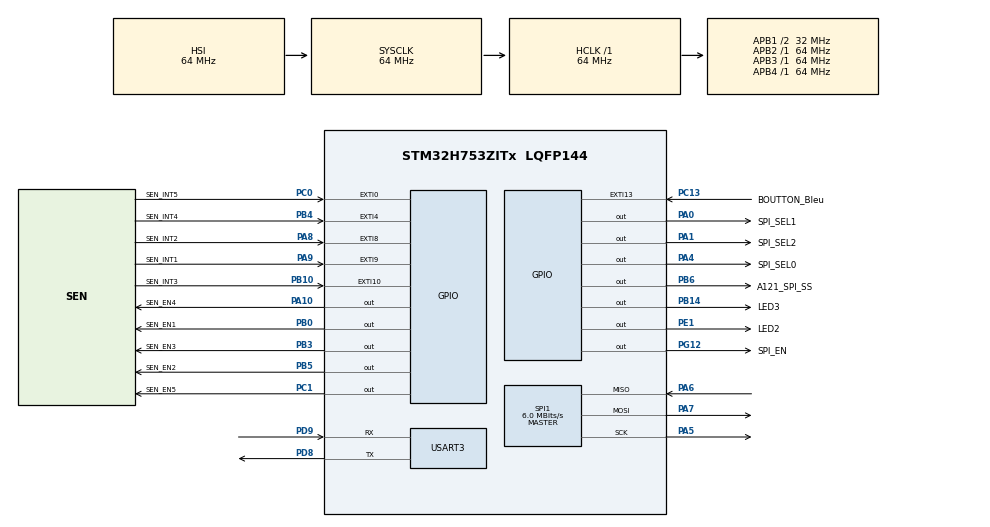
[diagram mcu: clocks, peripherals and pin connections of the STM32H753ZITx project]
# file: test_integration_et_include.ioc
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CORTEX_M7.default_mode_Activation=1
FREERTOS.BinarySemaphores01=Sem_de_synchro,Static,myBinarySem01ControlBlock,Depleted
FREERTOS.HEAP_NUMBER=1
FREERTOS.Queues01=myQueue01,1,uint32_t,0,Static,myQueue01Buffer,myQueue01ControlBlock
FREERTOS.Tasks01=tache1,33,128,Start_tache_1,Default,NULL,Static,defaultTaskBuffer,defaultTaskControlBlock;tache2,18,128,Start_tache_2,Default,NULL,Static,tache2Buffer,tache2ControlBlock;myTask03,8,128,StartTask03,Default,NULL,Static,myTask03Buffer,myTask03ControlBlock
FREERTOS.configCHECK_FOR_STACK_OVERFLOW=2
FREERTOS.configUSE_IDLE_HOOK=1
FREERTOS.configUSE_NEWLIB_REENTRANT=1
Mcu.Family=STM32H7
Mcu.Name=STM32H753ZITx
Mcu.Package=LQFP144
NVIC.EXTI0_IRQn=true\:5\:0\:false\:false\:true\:true\:true\:true\:true
NVIC.EXTI15_10_IRQn=true\:5\:0\:false\:false\:true\:true\:true\:true\:true
NVIC.EXTI4_IRQn=true\:5\:0\:false\:false\:true\:true\:true\:true\:true
NVIC.EXTI9_5_IRQn=true\:5\:0\:false\:false\:true\:true\:true\:true\:true
NVIC.PriorityGroup=NVIC_PRIORITYGROUP_4
NVIC.TIM8_BRK_TIM12_IRQn=true\:15\:0\:false\:false\:true\:false\:false\:true\:true
NVIC.TimeBase=TIM8_BRK_TIM12_IRQn
NVIC.TimeBaseIP=TIM12
PA0.GPIO_Label=SPI_SEL1
PA0.GPIO_Speed=GPIO_SPEED_FREQ_VERY_HIGH
PA0.Signal=GPIO_Output
PA1.GPIO_Label=SPI_SEL2
PA1.GPIO_Speed=GPIO_SPEED_FREQ_VERY_HIGH
PA1.Signal=GPIO_Output
PA10.GPIO_Label=SEN_EN4
PA10.GPIO_Speed=GPIO_SPEED_FREQ_VERY_HIGH
PA10.Signal=GPIO_Output
PA4.GPIO_Label=SPI_SEL0
PA4.GPIO_Speed=GPIO_SPEED_FREQ_VERY_HIGH
PA4.Signal=GPIO_Output
PA5.Mode=Full_Duplex_Master
PA5.Signal=SPI1_SCK
PA6.Mode=Full_Duplex_Master
PA6.Signal=SPI1_MISO
PA7.Mode=Full_Duplex_Master
PA7.Signal=SPI1_MOSI
PA8.GPIO_Label=SEN_INT2
PA8.Signal=GPXTI8
PA9.GPIO_Label=SEN_INT1
PA9.Signal=GPXTI9
PB0.GPIO_Label=SEN_EN1
PB0.GPIO_Speed=GPIO_SPEED_FREQ_VERY_HIGH
PB0.Signal=GPIO_Output
PB10.GPIO_Label=SEN_INT3
PB10.Signal=GPXTI10
PB14.GPIO_Label=LED3
PB14.Signal=GPIO_Output
PB3\ (JTDO/TRACESWO).GPIO_Label=SEN_EN3
PB3\ (JTDO/TRACESWO).GPIO_Speed=GPIO_SPEED_FREQ_VERY_HIGH
PB3\ (JTDO/TRACESWO).Signal=GPIO_Output
PB4\ (NJTRST).GPIO_Label=SEN_INT4
PB4\ (NJTRST).Signal=GPXTI4
PB5.GPIO_Label=SEN_EN2
PB5.GPIO_Speed=GPIO_SPEED_FREQ_VERY_HIGH
PB5.Signal=GPIO_Output
PB6.GPIO_Label=A121_SPI_SS
PB6.GPIO_Speed=GPIO_SPEED_FREQ_VERY_HIGH
PB6.PinState=GPIO_PIN_SET
PB6.Signal=GPIO_Output
PC0.GPIO_Label=SEN_INT5
PC0.Signal=GPXTI0
PC1.GPIO_Label=SEN_EN5
PC1.GPIO_Speed=GPIO_SPEED_FREQ_VERY_HIGH
PC1.Signal=GPIO_Output
PC13.GPIO_Label=BOUTTON_Bleu
PC13.Signal=GPXTI13
PD8.Mode=Asynchronous
PD8.Signal=USART3_TX
PD9.Mode=Asynchronous
PD9.Signal=USART3_RX
PE1.GPIO_Label=LED2
PE1.Signal=GPIO_Output
PG12.GPIO_Label=SPI_EN
PG12.GPIO_Speed=GPIO_SPEED_FREQ_VERY_HIGH
PG12.Signal=GPIO_Output
ProjectManager.HeapSize=0x200
ProjectManager.StackSize=0x400
ProjectManager.TargetToolchain=STM32CubeIDE
RCC.ADCFreq_Value=129000000
RCC.APB1Freq_Value=32000000
RCC.APB2Freq_Value=64000000
RCC.APB3Freq_Value=64000000
RCC.APB4Freq_Value=64000000
RCC.CortexFreq_Value=64000000
RCC.D2PPRE1=RCC_APB1_DIV2
RCC.DIVM1=4
RCC.DIVN1=12
RCC.DIVQ1=4
RCC.HCLKFreq_Value=64000000
RCC.PLL1_VCI_Range=RCC_PLL1VCIRANGE_3
RCC.PLL2FRACN=0
RCC.PLL3FRACN=0
RCC.PLLFRACN=0
RCC.SYSCLKFreq_VALUE=64000000
RCC.USBFreq_Value=48000000
SPI1.BaudRatePrescaler=SPI_BAUDRATEPRESCALER_8
SPI1.CalculateBaudRate=6.0 MBits/s
SPI1.DataSize=SPI_DATASIZE_8BIT
SPI1.Direction=SPI_DIRECTION_2LINES
SPI1.Mode=SPI_MODE_MASTER
SPI1.VirtualType=VM_MASTER
USART3.VirtualMode-Asynchronous=VM_ASYNC
VP_FREERTOS_VS_CMSIS_V2.Mode=CMSIS_V2
VP_MEMORYMAP_VS_MEMORYMAP.Mode=CurAppReg
VP_SYS_VS_tim12.Mode=TIM12
board=custom

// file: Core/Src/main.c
/* USER CODE BEGIN Header */
/**
  ******************************************************************************
  * @file           : main.c
  * @brief          : Main program body
  ******************************************************************************
  * @attention
  *
  * Copyright (c) 2024 STMicroelectronics.
  * All rights reserved.
  *
  * This software is licensed under terms that can be found in the LICENSE file
  * in the root directory of this software component.
  * If no LICENSE file comes with this software, it is provided AS-IS.
  *
  ******************************************************************************
  */
/* USER CODE END Header */
#include "main.h"
#include "cmsis_os.h"

/* USER CODE BEGIN Includes */
#include <stdbool.h>
#include <stdio.h>
#include <string.h>

//Lib perso :
#include "variables.h"

//Lib pour ma tache de diagno :
#include "acc_hal_integration_a121.h"

// Lib pour calcule de distance :
#include "example_detector_distance.h"

/* USER CODE END Includes */

typedef StaticTask_t osStaticThreadDef_t;
typedef StaticQueue_t osStaticMessageQDef_t;
typedef StaticSemaphore_t osStaticSemaphoreDef_t;

SPI_HandleTypeDef hspi1;

UART_HandleTypeDef huart3;

/* Definitions for tache1 */
osThreadId_t tache1Handle;
uint32_t defaultTaskBuffer[ 128 ];
osStaticThreadDef_t defaultTaskControlBlock;
const osThreadAttr_t tache1_attributes = {
  .name = "tache1",
  .cb_mem = &defaultTaskControlBlock,
  .cb_size = sizeof(defaultTaskControlBlock),
  .stack_mem = &defaultTaskBuffer[0],
  .stack_size = sizeof(defaultTaskBuffer),
  .priority = (osPriority_t) osPriorityAboveNormal1,
};
/* Definitions for tache2 */
osThreadId_t tache2Handle;
uint32_t tache2Buffer[ 128 ];
osStaticThreadDef_t tache2ControlBlock;
const osThreadAttr_t tache2_attributes = {
  .name = "tache2",
  .cb_mem = &tache2ControlBlock,
  .cb_size = sizeof(tache2ControlBlock),
  .stack_mem = &tache2Buffer[0],
  .stack_size = sizeof(tache2Buffer),
  .priority = (osPriority_t) osPriorityBelowNormal2,
};
/* Definitions for myTask03 */
osThreadId_t myTask03Handle;
uint32_t myTask03Buffer[ 128 ];
osStaticThreadDef_t myTask03ControlBlock;
const osThreadAttr_t myTask03_attributes = {
  .name = "myTask03",
  .cb_mem = &myTask03ControlBlock,
  .cb_size = sizeof(myTask03ControlBlock),
  .stack_mem = &myTask03Buffer[0],
  .stack_size = sizeof(myTask03Buffer),
  .priority = (osPriority_t) osPriorityLow,
};
/* Definitions for myQueue01 */
osMessageQueueId_t myQueue01Handle;
uint8_t myQueue01Buffer[ 1 * sizeof( uint32_t ) ];
osStaticMessageQDef_t myQueue01ControlBlock;
const osMessageQueueAttr_t myQueue01_attributes = {
  .name = "myQueue01",
  .cb_mem = &myQueue01ControlBlock,
  .cb_size = sizeof(myQueue01ControlBlock),
  .mq_mem = &myQueue01Buffer,
  .mq_size = sizeof(myQueue01Buffer)
};
/* Definitions for Sem_de_synchro */
osSemaphoreId_t Sem_de_synchroHandle;
osStaticSemaphoreDef_t myBinarySem01ControlBlock;
const osSemaphoreAttr_t Sem_de_synchro_attributes = {
  .name = "Sem_de_synchro",
  .cb_mem = &myBinarySem01ControlBlock,
  .cb_size = sizeof(myBinarySem01ControlBlock),
};

void SystemClock_Config(void);
static void MPU_Config(void);
static void MX_GPIO_Init(void);
static void MX_SPI1_Init(void);
static void MX_USART3_UART_Init(void);
void Start_tache_1(void *argument);
void Start_tache_2(void *argument);
void StartTask03(void *argument);

/* USER CODE BEGIN PFP */
uint32_t growStack ( void );
/* USER CODE END PFP */

int main(void)
{

  /* MPU Configuration--------------------------------------------------------*/
  MPU_Config();

  /* MCU Configuration--------------------------------------------------------*/

  /* Reset of all peripherals, Initializes the Flash interface and the Systick. */
  HAL_Init();

  /* Configure the system clock */
  SystemClock_Config();

  /* Initialize all configured peripherals */
  MX_GPIO_Init();
  MX_SPI1_Init();
  MX_USART3_UART_Init();
  /* USER CODE BEGIN 2 */

  // un diagno avant de commencer :
//  acc_example_diagnostic_test(0,NULL);
  /* USER CODE END 2 */

  /* Init scheduler */
  osKernelInitialize();

  /* Create the semaphores(s) */
  /* creation of Sem_de_synchro */
  Sem_de_synchroHandle = osSemaphoreNew(1, 0, &Sem_de_synchro_attributes);

  /* Create the queue(s) */
  /* creation of myQueue01 */
  myQueue01Handle = osMessageQueueNew (1, sizeof(uint32_t), &myQueue01_attributes);

  /* Create the thread(s) */
  /* creation of tache1 */
  tache1Handle = osThreadNew(Start_tache_1, NULL, &tache1_attributes);

  /* creation of tache2 */
  tache2Handle = osThreadNew(Start_tache_2, NULL, &tache2_attributes);

  /* creation of myTask03 */
  myTask03Handle = osThreadNew(StartTask03, NULL, &myTask03_attributes);

  /* Start scheduler */
  osKernelStart();

  /* We should never get here as control is now taken by the scheduler */

  /* Infinite loop */
  while (1)
  {

  }
}

void SystemClock_Config(void)
{
  RCC_OscInitTypeDef RCC_OscInitStruct = {0};
  RCC_ClkInitTypeDef RCC_ClkInitStruct = {0};

  /** Supply configuration update enable
  */
  HAL_PWREx_ConfigSupply(PWR_LDO_SUPPLY);

  /** Configure the main internal regulator output voltage
  */
  __HAL_PWR_VOLTAGESCALING_CONFIG(PWR_REGULATOR_VOLTAGE_SCALE3);

  while(!__HAL_PWR_GET_FLAG(PWR_FLAG_VOSRDY)) {}

  /** Initializes the RCC Oscillators according to the specified parameters
  * in the RCC_OscInitTypeDef structure.
  */
  RCC_OscInitStruct.OscillatorType = RCC_OSCILLATORTYPE_HSI;
  RCC_OscInitStruct.HSIState = RCC_HSI_DIV1;
  RCC_OscInitStruct.HSICalibrationValue = RCC_HSICALIBRATION_DEFAULT;
  RCC_OscInitStruct.PLL.PLLState = RCC_PLL_ON;
  RCC_OscInitStruct.PLL.PLLSource = RCC_PLLSOURCE_HSI;
  RCC_OscInitStruct.PLL.PLLM = 4;
  RCC_OscInitStruct.PLL.PLLN = 12;
  RCC_OscInitStruct.PLL.PLLP = 2;
  RCC_OscInitStruct.PLL.PLLQ = 4;
  RCC_OscInitStruct.PLL.PLLR = 2;
  RCC_OscInitStruct.PLL.PLLRGE = RCC_PLL1VCIRANGE_3;
  RCC_OscInitStruct.PLL.PLLVCOSEL = RCC_PLL1VCOWIDE;
  RCC_OscInitStruct.PLL.PLLFRACN = 0;
  if (HAL_RCC_OscConfig(&RCC_OscInitStruct) != HAL_OK)
  {
    Error_Handler();
  }

  /** Initializes the CPU, AHB and APB buses clocks
  */
  RCC_ClkInitStruct.ClockType = RCC_CLOCKTYPE_HCLK|RCC_CLOCKTYPE_SYSCLK
                              |RCC_CLOCKTYPE_PCLK1|RCC_CLOCKTYPE_PCLK2
                              |RCC_CLOCKTYPE_D3PCLK1|RCC_CLOCKTYPE_D1PCLK1;
  RCC_ClkInitStruct.SYSCLKSource = RCC_SYSCLKSOURCE_HSI;
  RCC_ClkInitStruct.SYSCLKDivider = RCC_SYSCLK_DIV1;
  RCC_ClkInitStruct.AHBCLKDivider = RCC_HCLK_DIV1;
  RCC_ClkInitStruct.APB3CLKDivider = RCC_APB3_DIV1;
  RCC_ClkInitStruct.APB1CLKDivider = RCC_APB1_DIV2;
  RCC_ClkInitStruct.APB2CLKDivider = RCC_APB2_DIV1;
  RCC_ClkInitStruct.APB4CLKDivider = RCC_APB4_DIV1;

  if (HAL_RCC_ClockConfig(&RCC_ClkInitStruct, FLASH_LATENCY_1) != HAL_OK)
  {
    Error_Handler();
  }
}

static void MX_SPI1_Init(void)
{

  /* SPI1 parameter configuration*/
  hspi1.Instance = SPI1;
  hspi1.Init.Mode = SPI_MODE_MASTER;
  hspi1.Init.Direction = SPI_DIRECTION_2LINES;
  hspi1.Init.DataSize = SPI_DATASIZE_8BIT;
  hspi1.Init.CLKPolarity = SPI_POLARITY_LOW;
  hspi1.Init.CLKPhase = SPI_PHASE_1EDGE;
  hspi1.Init.NSS = SPI_NSS_SOFT;
  hspi1.Init.BaudRatePrescaler = SPI_BAUDRATEPRESCALER_8;
  hspi1.Init.FirstBit = SPI_FIRSTBIT_MSB;
  hspi1.Init.TIMode = SPI_TIMODE_DISABLE;
  hspi1.Init.CRCCalculation = SPI_CRCCALCULATION_DISABLE;
  hspi1.Init.CRCPolynomial = 0x0;
  hspi1.Init.NSSPMode = SPI_NSS_PULSE_ENABLE;
  hspi1.Init.NSSPolarity = SPI_NSS_POLARITY_LOW;
  hspi1.Init.FifoThreshold = SPI_FIFO_THRESHOLD_01DATA;
  hspi1.Init.TxCRCInitializationPattern = SPI_CRC_INITIALIZATION_ALL_ZERO_PATTERN;
  hspi1.Init.RxCRCInitializationPattern = SPI_CRC_INITIALIZATION_ALL_ZERO_PATTERN;
  hspi1.Init.MasterSSIdleness = SPI_MASTER_SS_IDLENESS_00CYCLE;
  hspi1.Init.MasterInterDataIdleness = SPI_MASTER_INTERDATA_IDLENESS_00CYCLE;
  hspi1.Init.MasterReceiverAutoSusp = SPI_MASTER_RX_AUTOSUSP_DISABLE;
  hspi1.Init.MasterKeepIOState = SPI_MASTER_KEEP_IO_STATE_DISABLE;
  hspi1.Init.IOSwap = SPI_IO_SWAP_DISABLE;
  if (HAL_SPI_Init(&hspi1) != HAL_OK)
  {
    Error_Handler();
  }

}

static void MX_USART3_UART_Init(void)
{

  huart3.Instance = USART3;
  huart3.Init.BaudRate = 115200;
  huart3.Init.WordLength = UART_WORDLENGTH_8B;
  huart3.Init.StopBits = UART_STOPBITS_1;
  huart3.Init.Parity = UART_PARITY_NONE;
  huart3.Init.Mode = UART_MODE_TX_RX;
  huart3.Init.HwFlowCtl = UART_HWCONTROL_NONE;
  huart3.Init.OverSampling = UART_OVERSAMPLING_16;
  huart3.Init.OneBitSampling = UART_ONE_BIT_SAMPLE_DISABLE;
  huart3.Init.ClockPrescaler = UART_PRESCALER_DIV1;
  huart3.AdvancedInit.AdvFeatureInit = UART_ADVFEATURE_NO_INIT;
  if (HAL_UART_Init(&huart3) != HAL_OK)
  {
    Error_Handler();
  }
  if (HAL_UARTEx_SetTxFifoThreshold(&huart3, UART_TXFIFO_THRESHOLD_1_8) != HAL_OK)
  {
    Error_Handler();
  }
  if (HAL_UARTEx_SetRxFifoThreshold(&huart3, UART_RXFIFO_THRESHOLD_1_8) != HAL_OK)
  {
    Error_Handler();
  }
  if (HAL_UARTEx_DisableFifoMode(&huart3) != HAL_OK)
  {
    Error_Handler();
  }

}

static void MX_GPIO_Init(void)
{
  GPIO_InitTypeDef GPIO_InitStruct = {0};

  /* GPIO Ports Clock Enable */
  __HAL_RCC_GPIOC_CLK_ENABLE();
  __HAL_RCC_GPIOA_CLK_ENABLE();
  __HAL_RCC_GPIOB_CLK_ENABLE();
  __HAL_RCC_GPIOD_CLK_ENABLE();
  __HAL_RCC_GPIOG_CLK_ENABLE();
  __HAL_RCC_GPIOE_CLK_ENABLE();

  /*Configure GPIO pin Output Level */
  HAL_GPIO_WritePin(SEN_EN5_GPIO_Port, SEN_EN5_Pin, GPIO_PIN_RESET);

  /*Configure GPIO pin Output Level */
  HAL_GPIO_WritePin(GPIOA, SPI_SEL1_Pin|SPI_SEL2_Pin|SPI_SEL0_Pin|SEN_EN4_Pin, GPIO_PIN_RESET);

  /*Configure GPIO pin Output Level */
  HAL_GPIO_WritePin(GPIOB, SEN_EN1_Pin|LED3_Pin|SEN_EN3_Pin|SEN_EN2_Pin, GPIO_PIN_RESET);

  /*Configure GPIO pin Output Level */
  HAL_GPIO_WritePin(SPI_EN_GPIO_Port, SPI_EN_Pin, GPIO_PIN_RESET);

  /*Configure GPIO pin Output Level */
  HAL_GPIO_WritePin(A121_SPI_SS_GPIO_Port, A121_SPI_SS_Pin, GPIO_PIN_SET);

  /*Configure GPIO pin Output Level */
  HAL_GPIO_WritePin(LED2_GPIO_Port, LED2_Pin, GPIO_PIN_RESET);

  /*Configure GPIO pins : BOUTTON_Bleu_Pin SEN_INT5_Pin */
  GPIO_InitStruct.Pin = BOUTTON_Bleu_Pin|SEN_INT5_Pin;
  GPIO_InitStruct.Mode = GPIO_MODE_IT_RISING;
  GPIO_InitStruct.Pull = GPIO_NOPULL;
  HAL_GPIO_Init(GPIOC, &GPIO_InitStruct);

  /*Configure GPIO pin : SEN_EN5_Pin */
  GPIO_InitStruct.Pin = SEN_EN5_Pin;
  GPIO_InitStruct.Mode = GPIO_MODE_OUTPUT_PP;
  GPIO_InitStruct.Pull = GPIO_NOPULL;
  GPIO_InitStruct.Speed = GPIO_SPEED_FREQ_VERY_HIGH;
  HAL_GPIO_Init(SEN_EN5_GPIO_Port, &GPIO_InitStruct);

  /*Configure GPIO pins : SPI_SEL1_Pin SPI_SEL2_Pin SPI_SEL0_Pin SEN_EN4_Pin */
  GPIO_InitStruct.Pin = SPI_SEL1_Pin|SPI_SEL2_Pin|SPI_SEL0_Pin|SEN_EN4_Pin;
  GPIO_InitStruct.Mode = GPIO_MODE_OUTPUT_PP;
  GPIO_InitStruct.Pull = GPIO_NOPULL;
  GPIO_InitStruct.Speed = GPIO_SPEED_FREQ_VERY_HIGH;
  HAL_GPIO_Init(GPIOA, &GPIO_InitStruct);

  /*Configure GPIO pins : SEN_EN1_Pin SEN_EN3_Pin SEN_EN2_Pin A121_SPI_SS_Pin */
  GPIO_InitStruct.Pin = SEN_EN1_Pin|SEN_EN3_Pin|SEN_EN2_Pin|A121_SPI_SS_Pin;
  GPIO_InitStruct.Mode = GPIO_MODE_OUTPUT_PP;
  GPIO_InitStruct.Pull = GPIO_NOPULL;
  GPIO_InitStruct.Speed = GPIO_SPEED_FREQ_VERY_HIGH;
  HAL_GPIO_Init(GPIOB, &GPIO_InitStruct);

  /*Configure GPIO pins : SEN_INT3_Pin SEN_INT4_Pin */
  GPIO_InitStruct.Pin = SEN_INT3_Pin|SEN_INT4_Pin;
  GPIO_InitStruct.Mode = GPIO_MODE_IT_RISING;
  GPIO_InitStruct.Pull = GPIO_NOPULL;
  HAL_GPIO_Init(GPIOB, &GPIO_InitStruct);

  /*Configure GPIO pin : LED3_Pin */
  GPIO_InitStruct.Pin = LED3_Pin;
  GPIO_InitStruct.Mode = GPIO_MODE_OUTPUT_PP;
  GPIO_InitStruct.Pull = GPIO_NOPULL;
  GPIO_InitStruct.Speed = GPIO_SPEED_FREQ_LOW;
  HAL_GPIO_Init(LED3_GPIO_Port, &GPIO_InitStruct);

  /*Configure GPIO pins : SEN_INT2_Pin SEN_INT1_Pin */
  GPIO_InitStruct.Pin = SEN_INT2_Pin|SEN_INT1_Pin;
  GPIO_InitStruct.Mode = GPIO_MODE_IT_RISING;
  GPIO_InitStruct.Pull = GPIO_NOPULL;
  HAL_GPIO_Init(GPIOA, &GPIO_InitStruct);

  /*Configure GPIO pin : SPI_EN_Pin */
  GPIO_InitStruct.Pin = SPI_EN_Pin;
  GPIO_InitStruct.Mode = GPIO_MODE_OUTPUT_PP;
  GPIO_InitStruct.Pull = GPIO_NOPULL;
  GPIO_InitStruct.Speed = GPIO_SPEED_FREQ_VERY_HIGH;
  HAL_GPIO_Init(SPI_EN_GPIO_Port, &GPIO_InitStruct);

  /*Configure GPIO pin : LED2_Pin */
  GPIO_InitStruct.Pin = LED2_Pin;
  GPIO_InitStruct.Mode = GPIO_MODE_OUTPUT_PP;
  GPIO_InitStruct.Pull = GPIO_NOPULL;
  GPIO_InitStruct.Speed = GPIO_SPEED_FREQ_LOW;
  HAL_GPIO_Init(LED2_GPIO_Port, &GPIO_InitStruct);

  /* EXTI interrupt init*/
  HAL_NVIC_SetPriority(EXTI0_IRQn, 5, 0);
  HAL_NVIC_EnableIRQ(EXTI0_IRQn);

  HAL_NVIC_SetPriority(EXTI4_IRQn, 5, 0);
  HAL_NVIC_EnableIRQ(EXTI4_IRQn);

  HAL_NVIC_SetPriority(EXTI9_5_IRQn, 5, 0);
  HAL_NVIC_EnableIRQ(EXTI9_5_IRQn);

  HAL_NVIC_SetPriority(EXTI15_10_IRQn, 5, 0);
  HAL_NVIC_EnableIRQ(EXTI15_10_IRQn);

}

/* USER CODE BEGIN 4 */
//Attenction à la configuration de l'uart il faut changer les pin à pd8 et pd9 !!!!
void HAL_GPIO_EXTI_Callback(uint16_t GPIO_Pin)
{
  /* Prevent unused argument(s) compilation warning */
  UNUSED(GPIO_Pin);
  // Implémentez votre gestion de l'interruption ici
      if (GPIO_Pin == GPIO_PIN_13)
      {

      }
}

int _write ( int file , char * ptr , int len )
{
	( void ) file ;
	HAL_UART_Transmit (&huart3 , ( uint8_t *) ptr , len , 0xFFFF ) ;
	return len ;
}

/* USER CODE END 4 */

void Start_tache_1(void *argument)
{
  /* USER CODE BEGIN 5 */
	uint32_t tick = 0 ;
	osStatus_t status;
  /* Infinite loop */
  for(;;)
  {
	   tick = osKernelGetTickCount() ;

	   //printf("tick value  = %ld \n",tick);

	  printf("Tache1 : semaphore given \n");

	  //send tick over the mail box :

	  status = osMessageQueuePut(myQueue01Handle, &tick, 0U, osWaitForever);
	  if (status != osOK) {
	        // Handle error
	        printf("Failed to send message\n");
	  }

	  //Give semaphore avec api cmsis
	  osSemaphoreRelease(Sem_de_synchroHandle);

	  tick+=500U ;
	  // bloacker la tache pendant 500 ms :
	  osDelayUntil(tick);
	  // osDelay(300);
  }
  // In case we accidentally exit from task loop
  	osThreadTerminate(NULL);

  /* USER CODE END 5 */
}

void Start_tache_2(void *argument)
{
  /* USER CODE BEGIN Start_tache_2 */
  /* Infinite loop */
  for(;;)
  {
	 //wait for semaphore
	  osSemaphoreAcquire(Sem_de_synchroHandle, osWaitForever);
	  printf("tache 2 synchro avec la tache 1 \n") ;

  }
  /* USER CODE END Start_tache_2 */
}

void StartTask03(void *argument)
{
  /* USER CODE BEGIN StartTask03 */
	osStatus_t status;
	uint32_t msg_reciev = 0 ;
	uint32_t tick_actuelle = 0 ;

  /* Infinite loop */
  for(;;)
  {
	tick_actuelle = osKernelGetTickCount();

	/* wait for available message */
    status = osMessageQueueGet(myQueue01Handle, &msg_reciev, NULL, 100U);
    if (status == osOK) {
    	printf("tache 3 : msg Recieved :  ");
    	printf(" tick os that was send is %ld \n", msg_reciev);
    } else {
        // Handle error
        printf("Failed to receive message time : %ld \n", tick_actuelle);
    }
  }
  /* USER CODE END StartTask03 */
}

 /* MPU Configuration */

void MPU_Config(void)
{
  MPU_Region_InitTypeDef MPU_InitStruct = {0};

  /* Disables the MPU */
  HAL_MPU_Disable();

  /** Initializes and configures the Region and the memory to be protected
  */
  MPU_InitStruct.Enable = MPU_REGION_ENABLE;
  MPU_InitStruct.Number = MPU_REGION_NUMBER0;
  MPU_InitStruct.BaseAddress = 0x0;
  MPU_InitStruct.Size = MPU_REGION_SIZE_4GB;
  MPU_InitStruct.SubRegionDisable = 0x87;
  MPU_InitStruct.TypeExtField = MPU_TEX_LEVEL0;
  MPU_InitStruct.AccessPermission = MPU_REGION_NO_ACCESS;
  MPU_InitStruct.DisableExec = MPU_INSTRUCTION_ACCESS_DISABLE;
  MPU_InitStruct.IsShareable = MPU_ACCESS_SHAREABLE;
  MPU_InitStruct.IsCacheable = MPU_ACCESS_NOT_CACHEABLE;
  MPU_InitStruct.IsBufferable = MPU_ACCESS_NOT_BUFFERABLE;

  HAL_MPU_ConfigRegion(&MPU_InitStruct);
  /* Enables the MPU */
  HAL_MPU_Enable(MPU_PRIVILEGED_DEFAULT);

}

void HAL_TIM_PeriodElapsedCallback(TIM_HandleTypeDef *htim)
{
  if (htim->Instance == TIM12) {
    HAL_IncTick();
  }
}

void Error_Handler(void)
{
  __disable_irq();
  while (1)
  {
  }
}

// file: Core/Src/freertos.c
/* USER CODE BEGIN Header */
/**
  ******************************************************************************
  * File Name          : freertos.c
  * Description        : Code for freertos applications
  ******************************************************************************
  * @attention
  *
  * Copyright (c) 2024 STMicroelectronics.
  * All rights reserved.
  *
  * This software is licensed under terms that can be found in the LICENSE file
  * in the root directory of this software component.
  * If no LICENSE file comes with this software, it is provided AS-IS.
  *
  ******************************************************************************
  */
/* USER CODE END Header */

#include "FreeRTOS.h"
#include "task.h"
#include "main.h"

/* USER CODE BEGIN Includes */
#include "stdio.h"
/* USER CODE END Includes */

/* Hook prototypes */
void vApplicationIdleHook(void);
void vApplicationStackOverflowHook(xTaskHandle xTask, signed char *pcTaskName);

/* USER CODE BEGIN 2 */
void vApplicationIdleHook( void )
{
   /* vApplicationIdleHook() will only be called if configUSE_IDLE_HOOK is set
   to 1 in FreeRTOSConfig.h. It will be called on each iteration of the idle
   task. It is essential that code added to this hook function never attempts
   to block in any way (for example, call xQueueReceive() with a block time
   specified, or call vTaskDelay()). If the application makes use of the
   vTaskDelete() API function (as this demo application does) then it is also
   important that vApplicationIdleHook() is permitted to return to its calling
   function, because it is the responsibility of the idle task to clean up
   memory allocated by the kernel to any task that has since been deleted. */
}
/* USER CODE END 2 */

/* USER CODE BEGIN 4 */
void vApplicationStackOverflowHook(xTaskHandle xTask, signed char *pcTaskName)
{
   /* Run time stack overflow checking is performed if
   configCHECK_FOR_STACK_OVERFLOW is defined to 1 or 2. This hook function is
   called if a stack overflow is detected. */

	printf(" \r\n ERROR : stack overflow by " );
	printf("%s", (char *)pcTaskName);
	//  //ERROR : stack overflow by
	while (1) ; // Should replace with a software mcu reset

}
/* USER CODE END 4 */
